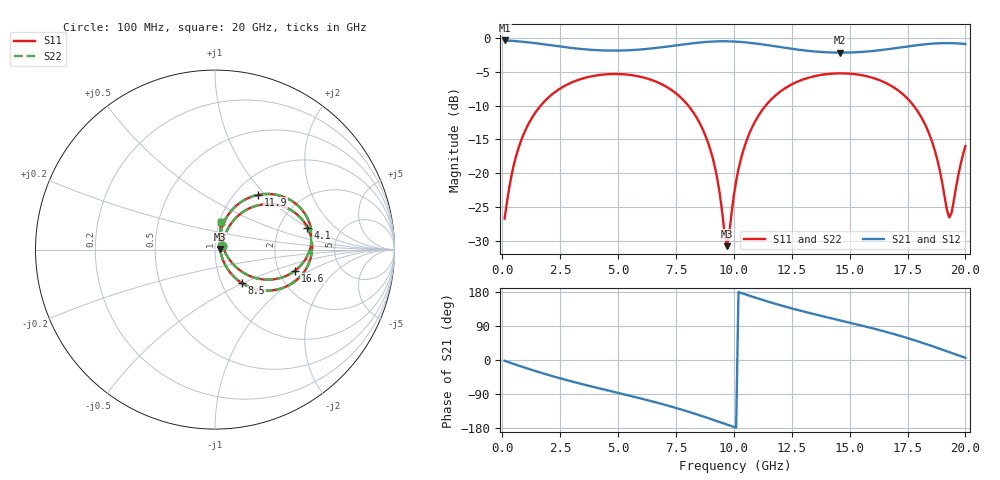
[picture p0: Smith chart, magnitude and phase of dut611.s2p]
! Touchstone file exported from HFSS 2026.1.0
!  File:  C:/ffzhzh/LocalFiles/Ansys_Project_Files/temp_train_TSV_RDL_611_1783123561_37876.aedt
!  Generated:  08:18:46 AM Jul  4, 2026
!  Design:  TSV_RDL
!  Project:  temp_train_TSV_RDL_611_1783123561_37876
! Variables:
!  h_bsmrdl = 3.6um
!  h_ox = 20um
!  h_rdl = 5um
!  h_sub = 73.13um
!  h_tmrdl = 2.29um
!  h_tsv = 73.13um
!  h_via = 3um
!  l_bsmrdl = 843.21um
!  l_sub = 5692um
!  l_tmrdl = 661.89um
!  m_sub = 200um
!  pitch = 50.15um
!  r_tsv = 14.93um
!  s_tmrdl = 10um
!  w_bsmrdl = 25.07um
!  w_sub = 500um
!  w_tmrdl = 13.2um
!  x_tsv_center1 = 668.49um
!  x_tsv_center2 = 1536.77um
!  x_tsv_center3 = 2211.86um
!  x_tsv_center4 = 3080.14um
!  x_tsv_center5 = 3755.23um
!  x_tsv_center6 = 4623.51um
# GHz S MA R 50.000000
! Terminal data exported
! Port[1] = TM_RDL1_1_T1
! Port[2] = TM_RDL5_1_T1
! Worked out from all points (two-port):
!   200 points, 100 MHz to 20 GHz, reference 50 ohm
!   highest |S21| = -0.36 dB at 100 MHz (marker M1); lowest = -2.2 dB at 14.6 GHz (marker M2)
!   |S21| within 3 dB of the highest: start of sweep to end of sweep
!   lowest |S11| = -30.8 dB at 9.7 GHz (marker M3), VSWR 1.06, Z = 52.9 + j0.377 ohm
!   |S11| at or under -10 dB: start of sweep to 1.661 GHz; 8.03 GHz to 11.38 GHz (3.347 GHz wide, 34.5 % of centre); 17.76 GHz to end of sweep
!   |S22| runs from -30.9 to -5.2 dB; largest |S21 - S12| = 1.6e-14
!   S11 on the Smith chart (normalised r, x): 100 MHz: 1.08, +0.05; 4.1 GHz: 2.88, +0.98; 8.5 GHz: 1.24, -0.49; 11.9 GHz: 1.27, +0.91; 16.6 GHz: 2.46, -0.73; 20 GHz: 1.02, +0.32
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0.1  0.04606 27.1  0.9596 -2.2  0.9596 -2.2  0.04606 27.1
! Gamma 0 0 0 0
! Port Impedance 50 0 50 0
0.6  0.1343 58.3  0.948 -12.7  0.948 -12.7  0.1343 58.3
1.2  0.2428 54.7  0.926 -24.7  0.926 -24.7  0.2428 54.7
2.2  0.3891 40.7  0.8793 -43.2  0.8793 -43.2  0.3891 40.7
3.5  0.5034 21.8  0.827 -64.5  0.827 -64.5  0.5034 21.8
4.1  0.5297 13.4  0.8129 -73.6  0.8129 -73.6  0.5297 13.4
5.4  0.5359 -4.5  0.811 -92.7  0.811 -92.7  0.5359 -4.5
6.8  0.4625 -24.8  0.8508 -114.5  0.8508 -114.5  0.4625 -24.8
8.5  0.239 -51.3  0.9255 -145.4  0.9255 -145.4  0.239 -51.3
9.2  0.1074 -56.5  0.9438 -159.7  0.9438 -159.7  0.1074 -56.7
9.7  0.02878 7.1  0.946 -170.2  0.946 -170.2  0.0285 6.9
10.1  0.08725 70.4  0.9406 -178.6  0.9406 -178.6  0.08706 70.6
10.8  0.2202 68.3  0.9174 167.1  0.9174 167.1  0.2201 68.4
11.9  0.3887 51.7  0.8622 146.4  0.8622 146.4  0.3886 51.7
13.4  0.5176 29.5  0.7979 122.1  0.7979 122.1  0.5175 29.5
14.6  0.5477 13.1  0.7795 104.4  0.7795 104.4  0.5476 13.2
16.6  0.4619 -14.6  0.8244 73.8  0.8244 73.8  0.4618 -14.6
16.7  0.4525 -16.1  0.8287 72.1  0.8287 72.1  0.4524 -16.0
18.3  0.2214 -38.4  0.9005 42.2  0.9005 42.2  0.2213 -38.3
18.8  0.1231 -38.3  0.9139 31.7  0.9139 31.7  0.123 -38.2
19.3  0.047 14.7  0.9173 20.9  0.9173 20.9  0.04685 14.9
20  0.158 77.3  0.903 5.8  0.903 5.8  0.1581 77.5
